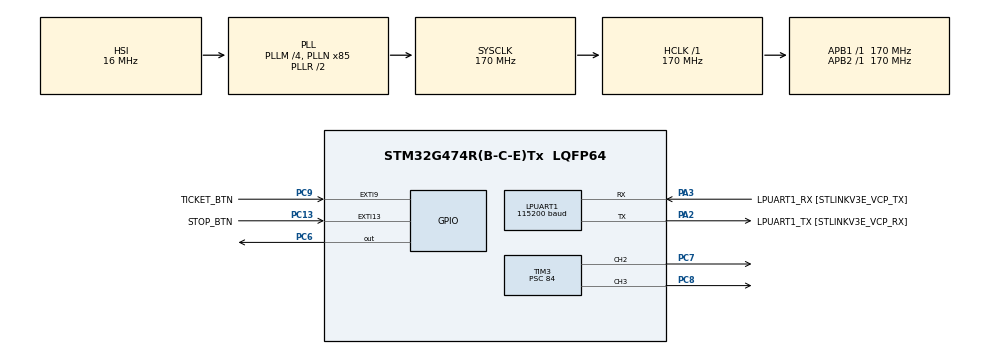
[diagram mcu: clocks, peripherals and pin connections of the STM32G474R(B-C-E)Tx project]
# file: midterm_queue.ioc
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LPUART1.BaudRate=115200
Mcu.Family=STM32G4
Mcu.Name=STM32G474R(B-C-E)Tx
Mcu.Package=LQFP64
NVIC.EXTI15_10_IRQn=true\:0\:0\:false\:false\:true\:true\:true\:true
NVIC.EXTI9_5_IRQn=true\:2\:0\:true\:false\:true\:true\:true\:true
NVIC.LPUART1_IRQn=true\:1\:0\:true\:false\:true\:true\:true\:true
NVIC.PriorityGroup=NVIC_PRIORITYGROUP_4
PA13.GPIO_Label=T_SWDIO
PA13.Mode=Serial_Wire
PA13.Signal=SYS_JTMS-SWDIO
PA14.GPIO_Label=T_SWCLK
PA14.Mode=Serial_Wire
PA14.Signal=SYS_JTCK-SWCLK
PA2.GPIO_Label=LPUART1_TX [STLINKV3E_VCP_RX]
PA2.Mode=Asynchronous
PA2.Signal=LPUART1_TX
PA3.GPIO_Label=LPUART1_RX [STLINKV3E_VCP_TX]
PA3.Mode=Asynchronous
PA3.Signal=LPUART1_RX
PB3.GPIO_Label=T_SWO
PB3.Signal=SYS_JTDO-SWO
PC13.GPIO_Label=STOP_BTN
PC13.Signal=GPXTI13
PC14-OSC32_IN.GPIO_Label=RCC_OSC32_IN
PC14-OSC32_IN.Signal=RCC_OSC32_IN
PC15-OSC32_OUT.GPIO_Label=RCC_OSC32_OUT
PC15-OSC32_OUT.Signal=RCC_OSC32_OUT
PC6.Signal=GPIO_Output
PC7.Signal=S_TIM3_CH2
PC8.Signal=S_TIM3_CH3
PC9.GPIO_Label=TICKET_BTN
PC9.GPIO_ModeDefaultEXTI=GPIO_MODE_IT_FALLING
PC9.GPIO_PuPd=GPIO_PULLUP
PC9.Signal=GPXTI9
PF0-OSC_IN.GPIO_Label=RCC_OSC_IN
PF0-OSC_IN.Signal=RCC_OSC_IN
PF1-OSC_OUT.GPIO_Label=RCC_OSC_OUT
PF1-OSC_OUT.Signal=RCC_OSC_OUT
ProjectManager.HeapSize=0x200
ProjectManager.StackSize=0x400
ProjectManager.TargetToolchain=STM32CubeIDE
RCC.ADC12Freq_Value=170000000
RCC.ADC345Freq_Value=170000000
RCC.AHBFreq_Value=170000000
RCC.APB1Freq_Value=170000000
RCC.APB1TimFreq_Value=170000000
RCC.APB2Freq_Value=170000000
RCC.APB2TimFreq_Value=170000000
RCC.CortexFreq_Value=170000000
RCC.EXTERNAL_CLOCK_VALUE=12288000
RCC.HCLKFreq_Value=170000000
RCC.HSE_VALUE=24000000
RCC.HSI48_VALUE=48000000
RCC.HSI_VALUE=16000000
RCC.LSE_VALUE=32768
RCC.PLLM=RCC_PLLM_DIV4
RCC.PLLN=85
RCC.RTCClockSelection=RCC_RTCCLKSOURCE_LSE
RCC.SYSCLKFreq_VALUE=170000000
RCC.SYSCLKSource=RCC_SYSCLKSOURCE_PLLCLK
RCC.USBFreq_Value=170000000
RCC.VCOOutputFreq_Value=340000000
SH.S_TIM3_CH2.0=TIM3_CH2,PWM Generation2 CH2
SH.S_TIM3_CH3.0=TIM3_CH3,PWM Generation3 CH3
TIM3.Channel-PWM\ Generation2\ CH2=TIM_CHANNEL_2
TIM3.Channel-PWM\ Generation3\ CH3=TIM_CHANNEL_3
TIM3.PeriodNoDither=19999
TIM3.Prescaler=84
VP_SYS_VS_DBSignals.Mode=DisableDeadBatterySignals
VP_TIM3_VS_ClockSourceINT.Mode=Internal
board=NUCLEO-G474RE

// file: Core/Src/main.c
/* USER CODE BEGIN Header */
/**
  ******************************************************************************
  * @file           : main.c
  * @brief          : Main program body
  ******************************************************************************
  * @attention
  *
  * Copyright (c) 2026 STMicroelectronics.
  * All rights reserved.
  *
  * This software is licensed under terms that can be found in the LICENSE file
  * in the root directory of this software component.
  * If no LICENSE file comes with this software, it is provided AS-IS.
  *
  ******************************************************************************
  */
/* USER CODE END Header */
#include "main.h"

/* USER CODE BEGIN Includes */
#include <string.h>
#include <stdio.h>
/* USER CODE END Includes */

/* USER CODE BEGIN PD */
#define QUEUE_SIZE   11U    // 環形緩衝 11 格，犧牲一格 → 最多排 10 人
#define DEBOUNCE_MS  300U   // 按鈕去彈跳時間
#define RX_RING_SIZE 64U    // UART 收字的環形緩衝大小（Lab4 是 256）
#define CALL_TIMEOUT_MS 10000U  // 叫號後 10 秒沒回應就自動過號
#define BREATH_STEP_MS 10U  // 呼吸燈每 10 ms 改一次亮度（Lab5 Challenge 一樣）
#define LED_FULL     19999U // PWM 最亮的 CCR 值 = ARR（TIM3：PSC 84、ARR 19999 → 100 Hz）
/* USER CODE END PD */

UART_HandleTypeDef hlpuart1;

TIM_HandleTypeDef htim3;

/* USER CODE BEGIN PV */
static uint16_t queue[QUEUE_SIZE];          // 排隊名單（存號碼）
static uint8_t  qHead = 0U;                 // 下一個抽號要放的位置
static uint8_t  qTail = 0U;                 // 下一個要叫的位置
static uint16_t nextTicket = 1U;            // 下一張號碼牌
static volatile uint8_t ticketFlag = 0U;    // 中斷登記：有人按抽號
static uint32_t lastTicketTick = 0U;        // 上次抽號的時間（去彈跳用）
static uint16_t currentNumber = 0U;         // 正在叫的號碼，0 = 目前沒有
static uint8_t  arrived = 0U;               // 客人到了沒（店員打 ok 設為 1）
static uint32_t callStartTick = 0U;         // 開始叫號的時間（10 秒倒數用）
static uint32_t lastBlinkTick = 0U;         // 上次改呼吸燈亮度的時間
static int32_t  breathLevel = 0;            // 綠燈呼吸亮度等級 0～100
static int32_t  breathDir = 1;              // +1 變亮、-1 變暗
static volatile uint8_t emergencyFlag = 0U; // 中斷登記：有人按 PC13 緊急按鈕
static uint8_t  emergency = 0U;             // 目前是不是緊急暫停中
static uint32_t lastStopTick = 0U;          // 上次按緊急按鈕的時間（去彈跳用）

/* UART 收指令用（跟 Lab4 一樣：中斷收字放進 rxRing，主迴圈再組成一行） */
static uint8_t rxByte;                      // 中斷每次收 1 個字放這裡
static volatile uint8_t rxRing[RX_RING_SIZE];
static volatile uint8_t rxHead = 0U;        // 中斷寫入的位置
static volatile uint8_t rxTail = 0U;        // 主迴圈讀取的位置
static char lineBuffer[16];                 // 組成一行指令
static uint8_t lineLength = 0U;
/* USER CODE END PV */

void SystemClock_Config(void);
static void MX_GPIO_Init(void);
static void MX_LPUART1_UART_Init(void);
static void MX_TIM3_Init(void);
/* USER CODE BEGIN PFP */
static void UART_Print(const char *msg);
static uint8_t QueueCount(void);
static uint8_t QueuePush(uint16_t number);
static void UpdateLeds(void);
static void TakeTicket(void);
static uint8_t QueuePop(uint16_t *number);
static void CallNext(void);
static void ListQueue(void);
static void ExecuteCommand(const char *cmd);
static void ProcessReceivedByte(uint8_t data);
static void RxRingPush(uint8_t data);
static uint8_t RxRingPop(uint8_t *data);
static void ToggleEmergency(void);
static void SetGreen(uint32_t ccr);
static void SetYellow(uint32_t ccr);
/* USER CODE END PFP */

/* USER CODE BEGIN 0 */
/* 透過 UART 傳一段文字給電腦（Lab4 的 HAL_UART_Transmit 包成函式） */
static void UART_Print(const char *msg)
{
  HAL_UART_Transmit(&hlpuart1, (uint8_t *)msg, strlen(msg), 100U);
}

/* 目前排隊人數：head 和 tail 的距離 */
static uint8_t QueueCount(void)
{
  return (uint8_t)((qHead + QUEUE_SIZE - qTail) % QUEUE_SIZE);
}

/* 抽號：把號碼放進 head，滿了回傳 0（跟 Lab4 的 RingPush 一樣） */
static uint8_t QueuePush(uint16_t number)
{
  uint8_t next = (uint8_t)((qHead + 1U) % QUEUE_SIZE);
  if (next == qTail) return 0U;      // 下一格撞到 tail → 滿了
  queue[qHead] = number;
  qHead = next;
  return 1U;
}

/* 綠燈（PC8 = TIM3_CH3）：改 CCR 就是改亮度（Lab5 一樣） */
static void SetGreen(uint32_t ccr)
{
  __HAL_TIM_SET_COMPARE(&htim3, TIM_CHANNEL_3, ccr);
}

/* 黃燈（PC7 = TIM3_CH2） */
static void SetYellow(uint32_t ccr)
{
  __HAL_TIM_SET_COMPARE(&htim3, TIM_CHANNEL_2, ccr);
}

/* 燈號：
   綠燈：沒人叫號 = 滅、叫號中 = 呼吸（主迴圈處理）、客人已到 = 最亮
   黃燈：亮度 = 排隊人數，0 人熄滅、10 人最亮（平方曲線，人少時變化看得出來） */
static void UpdateLeds(void)
{
  uint32_t count = QueueCount();
  uint32_t maxCount = QUEUE_SIZE - 1U;              // 最多 10 人

  if (currentNumber == 0U)      SetGreen(0U);
  else if (arrived)             SetGreen(LED_FULL);
  /* 叫號中：亮度由主迴圈的呼吸燈負責 */

  SetYellow(count * count * LED_FULL / (maxCount * maxCount));
}

/* 客人抽號：放進名單，告訴他前面有幾個人 */
static void TakeTicket(void)
{
  char msg[64];
  uint8_t ahead = QueueCount();      // 放進去之前的人數 = 前面有幾人

  if (emergency)
  {
    UART_Print("EMERGENCY: service paused, please wait.\r\n");
    return;
  }

  if (QueuePush(nextTicket) == 0U)
  {
    UART_Print("Queue is full, please wait.\r\n");
    return;
  }
  snprintf(msg, sizeof(msg), "Ticket #%u taken, %u people ahead.\r\n",
           (unsigned int)nextTicket, (unsigned int)ahead);
  UART_Print(msg);
  nextTicket++;
  UpdateLeds();
}

/* 叫號：從 tail 拿出最早抽號的人，空的回傳 0 */
static uint8_t QueuePop(uint16_t *number)
{
  if (qHead == qTail) return 0U;     // head 等於 tail → 沒人排隊
  *number = queue[qTail];
  qTail = (uint8_t)((qTail + 1U) % QUEUE_SIZE);
  return 1U;
}

/* next：叫下一位 */
static void CallNext(void)
{
  char msg[64];
  uint16_t number;

  if (QueuePop(&number) == 0U)
  {
    currentNumber = 0U;
    UART_Print("No one is waiting.\r\n");
  }
  else
  {
    currentNumber = number;
    arrived = 0U;                    // 新叫的號碼，客人還沒到
    callStartTick = HAL_GetTick();   // 開始 10 秒倒數
    lastBlinkTick = callStartTick;
    breathLevel = 0;                 // 呼吸燈從最暗開始
    breathDir = 1;
    snprintf(msg, sizeof(msg), "Now serving #%u (%u waiting).\r\n",
             (unsigned int)currentNumber, (unsigned int)QueueCount());
    UART_Print(msg);
  }
  UpdateLeds();
}

/* list：列出正在叫的號碼和排隊名單（從 tail 走到 head） */
static void ListQueue(void)
{
  char msg[128];
  int len;
  uint8_t i;

  if (emergency)
    len = snprintf(msg, sizeof(msg), "[EMERGENCY] ");
  else
    len = 0;

  if (currentNumber != 0U)
    len += snprintf(msg + len, sizeof(msg) - len, "Serving: #%u (%s) | Waiting:",
                   (unsigned int)currentNumber, arrived ? "arrived" : "calling");
  else
    len += snprintf(msg + len, sizeof(msg) - len, "Serving: none | Waiting:");

  if (QueueCount() == 0U)
  {
    len += snprintf(msg + len, sizeof(msg) - len, " (empty)");
  }
  for (i = qTail; i != qHead; i = (uint8_t)((i + 1U) % QUEUE_SIZE))
  {
    len += snprintf(msg + len, sizeof(msg) - len, " #%u", (unsigned int)queue[i]);
  }
  snprintf(msg + len, sizeof(msg) - len, "\r\n");
  UART_Print(msg);
}

/* 判斷店員打的指令（跟 Lab4 的 ExecuteCommand 一樣用 strcmp） */
static void ExecuteCommand(const char *cmd)
{
  char msg[48];

  /* 緊急暫停中：只允許 list 查詢，其他服務指令都擋下來 */
  if (emergency && (strcmp(cmd, "list") != 0) && (cmd[0] != '\0'))
  {
    UART_Print("EMERGENCY: service paused. Press PC13 to resume.\r\n");
    return;
  }

  if (strcmp(cmd, "next") == 0)
  {
    CallNext();
  }
  else if (strcmp(cmd, "list") == 0)
  {
    ListQueue();
  }
  else if (strcmp(cmd, "ok") == 0)
  {
    if (currentNumber == 0U)
    {
      UART_Print("No one is being served.\r\n");
    }
    else if (arrived)
    {
      snprintf(msg, sizeof(msg), "#%u already arrived.\r\n", (unsigned int)currentNumber);
      UART_Print(msg);
    }
    else
    {
      arrived = 1U;                  // 客人到了：停止倒數
      SetGreen(LED_FULL);            // 綠燈改恆亮（最亮）
      snprintf(msg, sizeof(msg), "#%u arrived.\r\n", (unsigned int)currentNumber);
      UART_Print(msg);
    }
  }
  else if (strcmp(cmd, "skip") == 0)
  {
    if (currentNumber == 0U)
    {
      UART_Print("No one is being served.\r\n");
    }
    else
    {
      snprintf(msg, sizeof(msg), "#%u skipped.\r\n", (unsigned int)currentNumber);
      UART_Print(msg);
      CallNext();                    // 過號後直接叫下一位
    }
  }
  else if (cmd[0] == '\0')
  {
    /* 空白行，不處理 */
  }
  else
  {
    UART_Print("Unknown command. Use: next / ok / list / skip\r\n");
  }
}

/* 一個字一個字組成一行，看到換行才執行（跟 Lab4 的 ProcessReceivedByte 一樣）
   不同的終端機按 Enter 送出的可能是 CR、LF 或 CR+LF，所以兩種都當成「一行結束」 */
static void ProcessReceivedByte(uint8_t data)
{
  if ((data == '\r') || (data == '\n'))
  {
    if (lineLength > 0U)             // CR+LF 會連續來兩個，第二個是空行就跳過
    {
      lineBuffer[lineLength] = '\0';
      ExecuteCommand(lineBuffer);
      lineLength = 0U;
    }
  }
  else if ((data == 0x08U) || (data == 0x7FU))   // Backspace：刪掉前一個字
  {
    if (lineLength > 0U) lineLength--;
  }
  else if (lineLength < sizeof(lineBuffer) - 1U)
  {
    lineBuffer[lineLength++] = (char)data;
  }
}

/* 收字的環形緩衝（跟 Lab4 的 RingPush / RingPop 一樣） */
static void RxRingPush(uint8_t data)
{
  uint8_t next = (uint8_t)((rxHead + 1U) % RX_RING_SIZE);
  if (next == rxTail) return;        // 滿了就丟掉
  rxRing[rxHead] = data;
  rxHead = next;
}

static uint8_t RxRingPop(uint8_t *data)
{
  if (rxHead == rxTail) return 0U;
  *data = rxRing[rxTail];
  rxTail = (uint8_t)((rxTail + 1U) % RX_RING_SIZE);
  return 1U;
}

/* 緊急暫停／恢復：按一次 PC13 暫停，再按一次恢復 */
static void ToggleEmergency(void)
{
  if (emergency == 0U)
  {
    emergency = 1U;
    HAL_GPIO_WritePin(GPIOC, GPIO_PIN_6, GPIO_PIN_SET);     // 紅燈恆亮
    SetGreen(0U);                    // 綠燈、黃燈關掉
    SetYellow(0U);
    UART_Print("!!! EMERGENCY STOP: service paused !!!\r\n");
  }
  else
  {
    emergency = 0U;
    HAL_GPIO_WritePin(GPIOC, GPIO_PIN_6, GPIO_PIN_RESET);   // 紅燈熄滅
    callStartTick = HAL_GetTick();   // 恢復後重新給叫號中的客人 10 秒
    lastBlinkTick = callStartTick;
    UpdateLeds();                    // 綠燈、黃燈恢復原本狀態
    UART_Print("Service resumed.\r\n");
  }
}
/* USER CODE END 0 */

int main(void)
{

  /* MCU Configuration--------------------------------------------------------*/

  /* Reset of all peripherals, Initializes the Flash interface and the Systick. */
  HAL_Init();

  /* Configure the system clock */
  SystemClock_Config();

  /* Initialize all configured peripherals */
  MX_GPIO_Init();
  MX_LPUART1_UART_Init();
  MX_TIM3_Init();
  /* USER CODE BEGIN 2 */
  /* 啟動 TIM3 的兩路 PWM（Lab5 一樣，沒有 Start 燈不會亮） */
  HAL_TIM_PWM_Start(&htim3, TIM_CHANNEL_2);   // PC7 黃燈
  HAL_TIM_PWM_Start(&htim3, TIM_CHANNEL_3);   // PC8 綠燈

  /* 開機自我測試：綠 → 黃 → 紅 各亮 0.3 秒，確認三顆燈接線正確 */
  SetGreen(LED_FULL);                                    // 綠
  HAL_Delay(300);
  SetGreen(0U);
  SetYellow(LED_FULL);                                   // 黃
  HAL_Delay(300);
  SetYellow(0U);
  HAL_GPIO_WritePin(GPIOC, GPIO_PIN_6, GPIO_PIN_SET);    // 紅
  HAL_Delay(300);
  HAL_GPIO_WritePin(GPIOC, GPIO_PIN_6, GPIO_PIN_RESET);

  /* 歡迎訊息 */
  UART_Print("\r\n=== Smart Queue System ===\r\n");
  UART_Print("Press PC9 to take a number.\r\n");
  UART_Print("Commands: next / ok / list / skip\r\n");
  UART_Print("Blue button (PC13): emergency stop / resume\r\n");

  /* 開始用中斷接收第一個字（Lab4 一樣） */
  if (HAL_UART_Receive_IT(&hlpuart1, &rxByte, 1U) != HAL_OK)
  {
    Error_Handler();
  }
  /* USER CODE END 2 */

  /* Infinite loop */
  while (1)
  {

    /* USER CODE BEGIN 3 */
    /* 主迴圈處理抽號：中斷只登記，這裡才真的做事 */
    if (ticketFlag)
    {
      ticketFlag = 0U;
      /* 去彈跳：距離上次超過 300 ms，而且按鈕現在真的是按下（0）才算數 */
      if ((HAL_GetTick() - lastTicketTick >= DEBOUNCE_MS) &&
          (HAL_GPIO_ReadPin(TICKET_BTN_GPIO_Port, TICKET_BTN_Pin) == GPIO_PIN_RESET))
      {
        lastTicketTick = HAL_GetTick();
        TakeTicket();
      }
    }

    /* 緊急按鈕：中斷只登記，這裡處理（去彈跳＋按鈕現在真的是按下＝1） */
    if (emergencyFlag)
    {
      emergencyFlag = 0U;
      if ((HAL_GetTick() - lastStopTick >= DEBOUNCE_MS) &&
          (HAL_GPIO_ReadPin(STOP_BTN_GPIO_Port, STOP_BTN_Pin) == GPIO_PIN_SET))
      {
        lastStopTick = HAL_GetTick();
        ToggleEmergency();
      }
    }

    /* 叫號中（客人還沒到）：綠燈呼吸，超過 10 秒自動過號（緊急暫停時不倒數） */
    if ((emergency == 0U) && (currentNumber != 0U) && (arrived == 0U))
    {
      if (HAL_GetTick() - callStartTick >= CALL_TIMEOUT_MS)
      {
        char msg[64];
        snprintf(msg, sizeof(msg), "#%u no response in 10 s, auto skipped.\r\n",
                 (unsigned int)currentNumber);
        UART_Print(msg);
        CallNext();                  // 自動叫下一位
      }
      else if (HAL_GetTick() - lastBlinkTick >= BREATH_STEP_MS)
      {
        /* 呼吸燈：每 10 ms 亮度走 4 格，0→100→0 約 0.5 秒一次（比 Lab5 快，看起來像在呼叫） */
        lastBlinkTick = HAL_GetTick();
        breathLevel += breathDir * 4;
        if (breathLevel >= 100) { breathLevel = 100; breathDir = -1; }
        else if (breathLevel <= 0) { breathLevel = 0; breathDir = 1; }
        SetGreen((uint32_t)(breathLevel * breathLevel) * LED_FULL / 10000U);
      }
    }

    /* 主迴圈處理店員指令：把中斷收到的字拿出來組成一行 */
    uint8_t data;
    while (RxRingPop(&data) != 0U)
    {
      ProcessReceivedByte(data);
    }
  }
  /* USER CODE END 3 */
}

void SystemClock_Config(void)
{
  RCC_OscInitTypeDef RCC_OscInitStruct = {0};
  RCC_ClkInitTypeDef RCC_ClkInitStruct = {0};

  /** Configure the main internal regulator output voltage
  */
  HAL_PWREx_ControlVoltageScaling(PWR_REGULATOR_VOLTAGE_SCALE1_BOOST);

  /** Initializes the RCC Oscillators according to the specified parameters
  * in the RCC_OscInitTypeDef structure.
  */
  RCC_OscInitStruct.OscillatorType = RCC_OSCILLATORTYPE_HSI;
  RCC_OscInitStruct.HSIState = RCC_HSI_ON;
  RCC_OscInitStruct.HSICalibrationValue = RCC_HSICALIBRATION_DEFAULT;
  RCC_OscInitStruct.PLL.PLLState = RCC_PLL_ON;
  RCC_OscInitStruct.PLL.PLLSource = RCC_PLLSOURCE_HSI;
  RCC_OscInitStruct.PLL.PLLM = RCC_PLLM_DIV4;
  RCC_OscInitStruct.PLL.PLLN = 85;
  RCC_OscInitStruct.PLL.PLLP = RCC_PLLP_DIV2;
  RCC_OscInitStruct.PLL.PLLQ = RCC_PLLQ_DIV2;
  RCC_OscInitStruct.PLL.PLLR = RCC_PLLR_DIV2;
  if (HAL_RCC_OscConfig(&RCC_OscInitStruct) != HAL_OK)
  {
    Error_Handler();
  }

  /** Initializes the CPU, AHB and APB buses clocks
  */
  RCC_ClkInitStruct.ClockType = RCC_CLOCKTYPE_HCLK|RCC_CLOCKTYPE_SYSCLK
                              |RCC_CLOCKTYPE_PCLK1|RCC_CLOCKTYPE_PCLK2;
  RCC_ClkInitStruct.SYSCLKSource = RCC_SYSCLKSOURCE_PLLCLK;
  RCC_ClkInitStruct.AHBCLKDivider = RCC_SYSCLK_DIV1;
  RCC_ClkInitStruct.APB1CLKDivider = RCC_HCLK_DIV1;
  RCC_ClkInitStruct.APB2CLKDivider = RCC_HCLK_DIV1;

  if (HAL_RCC_ClockConfig(&RCC_ClkInitStruct, FLASH_LATENCY_4) != HAL_OK)
  {
    Error_Handler();
  }
}

static void MX_LPUART1_UART_Init(void)
{

  hlpuart1.Instance = LPUART1;
  hlpuart1.Init.BaudRate = 115200;
  hlpuart1.Init.WordLength = UART_WORDLENGTH_8B;
  hlpuart1.Init.StopBits = UART_STOPBITS_1;
  hlpuart1.Init.Parity = UART_PARITY_NONE;
  hlpuart1.Init.Mode = UART_MODE_TX_RX;
  hlpuart1.Init.HwFlowCtl = UART_HWCONTROL_NONE;
  hlpuart1.Init.OneBitSampling = UART_ONE_BIT_SAMPLE_DISABLE;
  hlpuart1.Init.ClockPrescaler = UART_PRESCALER_DIV1;
  hlpuart1.AdvancedInit.AdvFeatureInit = UART_ADVFEATURE_NO_INIT;
  if (HAL_UART_Init(&hlpuart1) != HAL_OK)
  {
    Error_Handler();
  }
  if (HAL_UARTEx_SetTxFifoThreshold(&hlpuart1, UART_TXFIFO_THRESHOLD_1_8) != HAL_OK)
  {
    Error_Handler();
  }
  if (HAL_UARTEx_SetRxFifoThreshold(&hlpuart1, UART_RXFIFO_THRESHOLD_1_8) != HAL_OK)
  {
    Error_Handler();
  }
  if (HAL_UARTEx_DisableFifoMode(&hlpuart1) != HAL_OK)
  {
    Error_Handler();
  }

}

static void MX_TIM3_Init(void)
{

  TIM_ClockConfigTypeDef sClockSourceConfig = {0};
  TIM_MasterConfigTypeDef sMasterConfig = {0};
  TIM_OC_InitTypeDef sConfigOC = {0};

  htim3.Instance = TIM3;
  htim3.Init.Prescaler = 84;
  htim3.Init.CounterMode = TIM_COUNTERMODE_UP;
  htim3.Init.Period = 19999;
  htim3.Init.ClockDivision = TIM_CLOCKDIVISION_DIV1;
  htim3.Init.AutoReloadPreload = TIM_AUTORELOAD_PRELOAD_DISABLE;
  if (HAL_TIM_Base_Init(&htim3) != HAL_OK)
  {
    Error_Handler();
  }
  sClockSourceConfig.ClockSource = TIM_CLOCKSOURCE_INTERNAL;
  if (HAL_TIM_ConfigClockSource(&htim3, &sClockSourceConfig) != HAL_OK)
  {
    Error_Handler();
  }
  if (HAL_TIM_PWM_Init(&htim3) != HAL_OK)
  {
    Error_Handler();
  }
  sMasterConfig.MasterOutputTrigger = TIM_TRGO_RESET;
  sMasterConfig.MasterSlaveMode = TIM_MASTERSLAVEMODE_DISABLE;
  if (HAL_TIMEx_MasterConfigSynchronization(&htim3, &sMasterConfig) != HAL_OK)
  {
    Error_Handler();
  }
  sConfigOC.OCMode = TIM_OCMODE_PWM1;
  sConfigOC.Pulse = 0;
  sConfigOC.OCPolarity = TIM_OCPOLARITY_HIGH;
  sConfigOC.OCFastMode = TIM_OCFAST_DISABLE;
  if (HAL_TIM_PWM_ConfigChannel(&htim3, &sConfigOC, TIM_CHANNEL_2) != HAL_OK)
  {
    Error_Handler();
  }
  if (HAL_TIM_PWM_ConfigChannel(&htim3, &sConfigOC, TIM_CHANNEL_3) != HAL_OK)
  {
    Error_Handler();
  }
  HAL_TIM_MspPostInit(&htim3);

}

static void MX_GPIO_Init(void)
{
  GPIO_InitTypeDef GPIO_InitStruct = {0};

  /* GPIO Ports Clock Enable */
  __HAL_RCC_GPIOC_CLK_ENABLE();
  __HAL_RCC_GPIOF_CLK_ENABLE();
  __HAL_RCC_GPIOA_CLK_ENABLE();
  __HAL_RCC_GPIOB_CLK_ENABLE();

  /*Configure GPIO pin Output Level */
  HAL_GPIO_WritePin(GPIOC, GPIO_PIN_6, GPIO_PIN_RESET);

  /*Configure GPIO pin : STOP_BTN_Pin */
  GPIO_InitStruct.Pin = STOP_BTN_Pin;
  GPIO_InitStruct.Mode = GPIO_MODE_IT_RISING;
  GPIO_InitStruct.Pull = GPIO_NOPULL;
  HAL_GPIO_Init(STOP_BTN_GPIO_Port, &GPIO_InitStruct);

  /*Configure GPIO pin : PC6 */
  GPIO_InitStruct.Pin = GPIO_PIN_6;
  GPIO_InitStruct.Mode = GPIO_MODE_OUTPUT_PP;
  GPIO_InitStruct.Pull = GPIO_NOPULL;
  GPIO_InitStruct.Speed = GPIO_SPEED_FREQ_LOW;
  HAL_GPIO_Init(GPIOC, &GPIO_InitStruct);

  /*Configure GPIO pin : TICKET_BTN_Pin */
  GPIO_InitStruct.Pin = TICKET_BTN_Pin;
  GPIO_InitStruct.Mode = GPIO_MODE_IT_FALLING;
  GPIO_InitStruct.Pull = GPIO_PULLUP;
  HAL_GPIO_Init(TICKET_BTN_GPIO_Port, &GPIO_InitStruct);

  /* EXTI interrupt init*/
  HAL_NVIC_SetPriority(EXTI9_5_IRQn, 2, 0);
  HAL_NVIC_EnableIRQ(EXTI9_5_IRQn);

  HAL_NVIC_SetPriority(EXTI15_10_IRQn, 0, 0);
  HAL_NVIC_EnableIRQ(EXTI15_10_IRQn);

}

/* USER CODE BEGIN 4 */
/* 按鈕中斷：只登記，馬上離開（ISR 要短） */
void HAL_GPIO_EXTI_Callback(uint16_t GPIO_Pin)
{
  if (GPIO_Pin == TICKET_BTN_Pin)
  {
    ticketFlag = 1U;
  }
  else if (GPIO_Pin == STOP_BTN_Pin)
  {
    emergencyFlag = 1U;              // 緊急按鈕：優先權 0，可以插隊任何中斷
  }
}

/* UART 收到 1 個字：放進 rxRing，再約下一個字（Lab4 一樣） */
void HAL_UART_RxCpltCallback(UART_HandleTypeDef *huart)
{
  if (huart->Instance != LPUART1) return;
  RxRingPush(rxByte);
  HAL_UART_Receive_IT(huart, &rxByte, 1U);
}
/* USER CODE END 4 */

void Error_Handler(void)
{
  __disable_irq();
  while (1)
  {
  }
}
